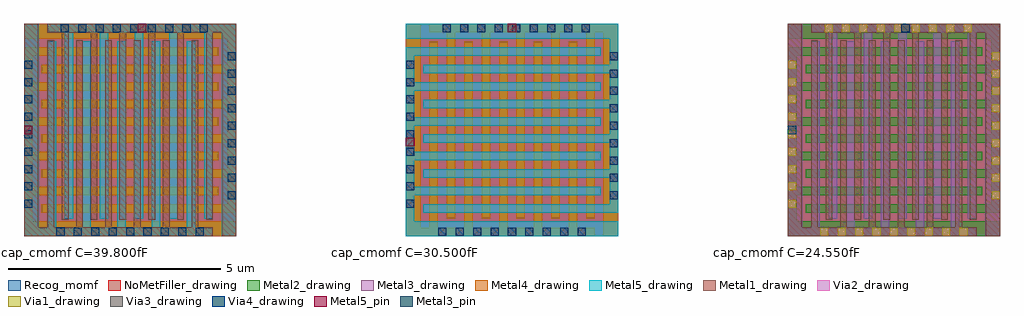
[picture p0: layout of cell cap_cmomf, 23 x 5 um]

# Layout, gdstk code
import gdstk
lib = gdstk.Library(unit=1e-6, precision=1e-09)
def R(c, l, rs):  # rectangles x0, y0, x1, y1
    for r in rs: c.add(gdstk.rectangle(r[:2], r[2:], *l))
def A(c, l, x, y, w, h, nx, ny, dx, dy):  # array of equal rectangles
    R(c, l, [(x+i*dx, y+j*dy, x+i*dx+w, y+j*dy+h) for i in range(nx) for j in range(ny)])
Metal1_drawing = (8, 0)
Metal2_drawing = (10, 0)
Via1_drawing = (19, 0)
Via2_drawing = (29, 0)
Metal3_drawing = (30, 0)
Metal3_pin = (30, 2)
Via3_drawing = (49, 0)
Metal4_drawing = (50, 0)
Via4_drawing = (66, 0)
Metal5_drawing = (67, 0)
Metal5_pin = (67, 2)
Recog_momf = (99, 40)
NoMetFiller_drawing = (160, 0)

cap_cmomf = lib.new_cell('cap_cmomf')
A(cap_cmomf, Metal1_drawing, 0.55, 0, 0.16, 4.61, 6, 1, 0.68, 0)
A(cap_cmomf, Metal1_drawing, 18.55, 0, 0.16, 4.61, 6, 1, 0.68, 0)
A(cap_cmomf, Metal1_drawing, 0.89, 0.39, 0.16, 4.61, 6, 1, 0.68, 0)
A(cap_cmomf, Metal1_drawing, 18.89, 0.39, 0.16, 4.61, 6, 1, 0.68, 0)
R(cap_cmomf, Metal1_drawing, [(0,0,0.33,5), (0,0,4.45,0.21), (4.67,0,5,5), (18,0,18.33,5), (18,0,22.45,0.21), (22.67,0,23,5), (0.55,4.79,5,5), (18.55,4.79,23,5)])
A(cap_cmomf, Metal2_drawing, 9.555, 0, 0.2, 4.585, 5, 1, 0.82, 0)
A(cap_cmomf, Metal2_drawing, 9.965, 0.415, 0.2, 4.585, 5, 1, 0.82, 0)
A(cap_cmomf, Metal2_drawing, 0.42, 0.555, 4.58, 0.2, 1, 5, 0, 0.82)
A(cap_cmomf, Metal2_drawing, 18.42, 0.555, 4.58, 0.2, 1, 5, 0, 0.82)
A(cap_cmomf, Metal2_drawing, 0, 0.965, 4.58, 0.2, 1, 5, 0, 0.82)
A(cap_cmomf, Metal2_drawing, 18, 0.965, 4.58, 0.2, 1, 5, 0, 0.82)
R(cap_cmomf, Metal2_drawing, [(0,0,5,0.345), (0,0,0.205,4.445), (9,0,9.345,5), (9,0,13.445,0.2), (13.655,0,14,5), (18,0,23,0.345), (18,0,18.205,4.445), (4.795,0.555,5,5), (22.795,0.555,23,5), (0,4.655,5,5), (18,4.655,23,5), (9.555,4.8,14,5)])
A(cap_cmomf, Via1_drawing, 0.765, 0.01, 0.19, 0.19, 9, 1, 0.41, 0)
A(cap_cmomf, Via1_drawing, 18.765, 0.01, 0.19, 0.19, 9, 1, 0.41, 0)
A(cap_cmomf, Via1_drawing, 0.01, 0.665, 0.19, 0.19, 1, 9, 0, 0.41)
A(cap_cmomf, Via1_drawing, 18.01, 0.665, 0.19, 0.19, 1, 9, 0, 0.41)
A(cap_cmomf, Via1_drawing, 4.8, 0.865, 0.19, 0.19, 1, 9, 0, 0.41)
A(cap_cmomf, Via1_drawing, 22.8, 0.865, 0.19, 0.19, 1, 9, 0, 0.41)
A(cap_cmomf, Via1_drawing, 0.865, 4.8, 0.19, 0.19, 9, 1, 0.41, 0)
A(cap_cmomf, Via1_drawing, 18.865, 4.8, 0.19, 0.19, 9, 1, 0.41, 0)
A(cap_cmomf, Via2_drawing, 0.765, 0.005, 0.19, 0.19, 9, 1, 0.41, 0)
A(cap_cmomf, Via2_drawing, 9.765, 0.005, 0.19, 0.19, 9, 1, 0.41, 0)
A(cap_cmomf, Via2_drawing, 18.765, 0.005, 0.19, 0.19, 9, 1, 0.41, 0)
A(cap_cmomf, Via2_drawing, 0.005, 0.665, 0.19, 0.19, 3, 9, 9, 0.41)
A(cap_cmomf, Via2_drawing, 4.805, 0.865, 0.19, 0.19, 3, 9, 9, 0.41)
A(cap_cmomf, Via2_drawing, 0.865, 4.805, 0.19, 0.19, 9, 1, 0.41, 0)
A(cap_cmomf, Via2_drawing, 9.865, 4.805, 0.19, 0.19, 9, 1, 0.41, 0)
A(cap_cmomf, Via2_drawing, 18.865, 4.805, 0.19, 0.19, 9, 1, 0.41, 0)
A(cap_cmomf, Metal3_drawing, 0.555, 0, 0.2, 4.59, 5, 1, 0.82, 0)
A(cap_cmomf, Metal3_drawing, 18.555, 0, 0.2, 4.59, 5, 1, 0.82, 0)
A(cap_cmomf, Metal3_drawing, 0.965, 0.41, 0.2, 4.59, 5, 1, 0.82, 0)
A(cap_cmomf, Metal3_drawing, 18.965, 0.41, 0.2, 4.59, 5, 1, 0.82, 0)
A(cap_cmomf, Metal3_drawing, 9.41, 0.555, 4.59, 0.2, 1, 5, 0, 0.82)
A(cap_cmomf, Metal3_drawing, 9, 0.965, 4.59, 0.2, 1, 5, 0, 0.82)
R(cap_cmomf, Metal3_drawing, [(0,0,0.345,5), (0,0,4.445,0.2), (4.655,0,5,5), (9,0,14,0.345), (9,0,9.2,4.445), (18,0,18.345,5), (18,0,22.445,0.2), (22.655,0,23,5), (13.8,0.555,14,5), (9,4.655,14,5), (0.555,4.8,5,5), (18.555,4.8,23,5)])
R(cap_cmomf, Metal3_pin, [(18,2.4,18.2,2.6), (20.675,4.8,20.875,5)])
A(cap_cmomf, Via3_drawing, 0.765, 0.005, 0.19, 0.19, 9, 1, 0.41, 0)
A(cap_cmomf, Via3_drawing, 9.765, 0.005, 0.19, 0.19, 9, 1, 0.41, 0)
A(cap_cmomf, Via3_drawing, 0.005, 0.665, 0.19, 0.19, 1, 9, 0, 0.41)
A(cap_cmomf, Via3_drawing, 9.005, 0.665, 0.19, 0.19, 1, 9, 0, 0.41)
A(cap_cmomf, Via3_drawing, 4.805, 0.865, 0.19, 0.19, 1, 9, 0, 0.41)
A(cap_cmomf, Via3_drawing, 13.805, 0.865, 0.19, 0.19, 1, 9, 0, 0.41)
A(cap_cmomf, Via3_drawing, 0.865, 4.805, 0.19, 0.19, 9, 1, 0.41, 0)
A(cap_cmomf, Via3_drawing, 9.865, 4.805, 0.19, 0.19, 9, 1, 0.41, 0)
A(cap_cmomf, Metal4_drawing, 9.555, 0, 0.2, 4.59, 5, 1, 0.82, 0)
A(cap_cmomf, Metal4_drawing, 9.965, 0.41, 0.2, 4.59, 5, 1, 0.82, 0)
A(cap_cmomf, Metal4_drawing, 0.41, 0.555, 4.59, 0.2, 1, 5, 0, 0.82)
A(cap_cmomf, Metal4_drawing, 0, 0.965, 4.59, 0.2, 1, 5, 0, 0.82)
R(cap_cmomf, Metal4_drawing, [(0,0,5,0.345), (0,0,0.2,4.445), (9,0,9.345,5), (9,0,13.445,0.2), (13.655,0,14,5), (4.8,0.555,5,5), (0,4.655,5,5), (9.555,4.8,14,5)])
A(cap_cmomf, Via4_drawing, 0.765, 0.005, 0.19, 0.19, 9, 1, 0.41, 0)
A(cap_cmomf, Via4_drawing, 9.765, 0.005, 0.19, 0.19, 9, 1, 0.41, 0)
A(cap_cmomf, Via4_drawing, 0.005, 0.665, 0.19, 0.19, 1, 9, 0, 0.41)
A(cap_cmomf, Via4_drawing, 9.005, 0.665, 0.19, 0.19, 1, 9, 0, 0.41)
A(cap_cmomf, Via4_drawing, 4.805, 0.865, 0.19, 0.19, 1, 9, 0, 0.41)
A(cap_cmomf, Via4_drawing, 13.805, 0.865, 0.19, 0.19, 1, 9, 0, 0.41)
A(cap_cmomf, Via4_drawing, 0.865, 4.805, 0.19, 0.19, 9, 1, 0.41, 0)
A(cap_cmomf, Via4_drawing, 9.865, 4.805, 0.19, 0.19, 9, 1, 0.41, 0)
A(cap_cmomf, Metal5_drawing, 0.555, 0, 0.2, 4.59, 5, 1, 0.82, 0)
A(cap_cmomf, Metal5_drawing, 0.965, 0.41, 0.2, 4.59, 5, 1, 0.82, 0)
A(cap_cmomf, Metal5_drawing, 9.41, 0.555, 4.59, 0.2, 1, 5, 0, 0.82)
A(cap_cmomf, Metal5_drawing, 9, 0.965, 4.59, 0.2, 1, 5, 0, 0.82)
R(cap_cmomf, Metal5_drawing, [(0,0,0.345,5), (0,0,4.445,0.2), (4.655,0,5,5), (9,0,14,0.345), (9,0,9.2,4.445), (13.8,0.555,14,5), (9,4.655,14,5), (0.555,4.8,5,5)])
R(cap_cmomf, Metal5_pin, [(9,2.12,9.2,2.32), (0,2.4,0.2,2.6), (2.675,4.8,2.875,5), (11.4,4.8,11.6,5)])
A(cap_cmomf, Recog_momf, 0, 0, 5, 5, 3, 1, 9, 0)
A(cap_cmomf, NoMetFiller_drawing, 0, 0, 5, 5, 3, 1, 9, 0)
cap_cmomf.add(gdstk.Label('cap_cmomf C=39.800fF', (0,-0.5), layer=63, texttype=0))
cap_cmomf.add(gdstk.Label('cap_cmomf C=30.500fF', (9,-0.5), layer=63, texttype=0))
cap_cmomf.add(gdstk.Label('cap_cmomf C=24.550fF', (18,-0.5), layer=63, texttype=0))

lib.write_gds('cap_cmomf.gds')
